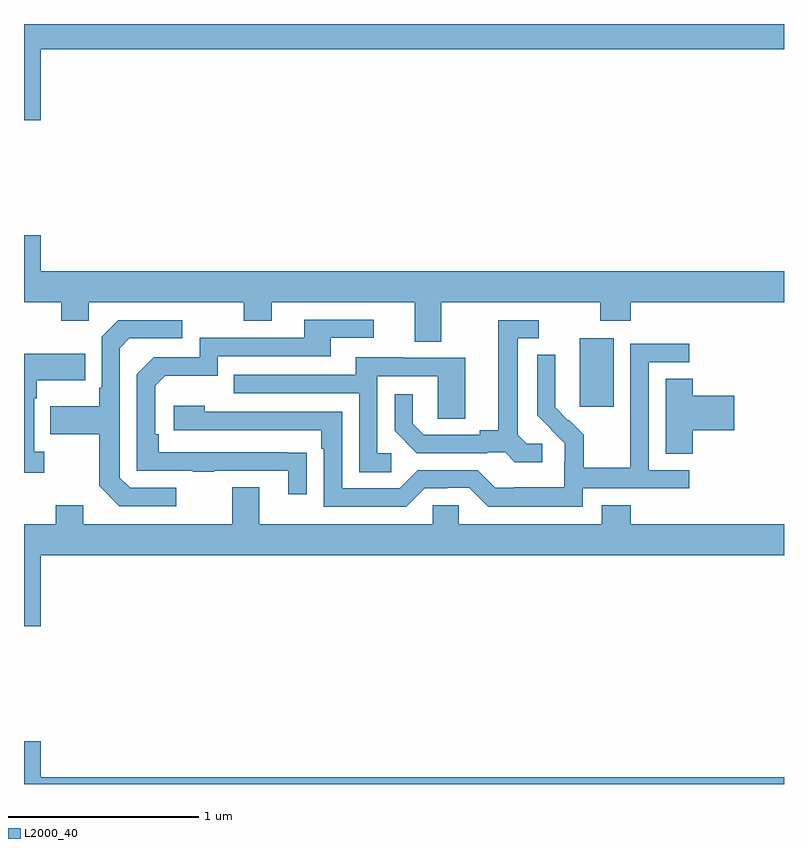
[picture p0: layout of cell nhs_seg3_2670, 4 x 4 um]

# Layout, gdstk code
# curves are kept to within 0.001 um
import gdstk
lib = gdstk.Library(unit=1e-6, precision=1e-09)
def R(c, l, rs):  # rectangles x0, y0, x1, y1
    for r in rs: c.add(gdstk.rectangle(r[:2], r[2:], *l))
def P(c, l, *ps):  # polygons
    for p in ps: c.add(gdstk.Polygon(p, *l))
L2000_40 = (2000, 40)

nhs_seg3_2670 = lib.new_cell('nhs_seg3_2670')
R(nhs_seg3_2670, L2000_40, [(251.924,680.385,252.103,680.746)])
P(nhs_seg3_2670, L2000_40, [(249.088,682.268),(253,682.268),(253,682.4),(249,682.4),(249,681.894),(249.088,681.894)],
  [(251.197,680.936),(252.034,680.936),(252.034,680.837),(252.194,680.837),(252.194,680.936),(253,680.936),(253,681.1),(249.088,681.1),(249.088,681.289),(249,681.289),(249,680.936),(249.196,680.936),(249.196,680.837),(249.342,680.837),(249.342,680.936),(250.156,680.936),(250.156,680.837),(250.303,680.837),(250.303,680.936),(251.057,680.936),(251.057,680.728),(251.197,680.728)],
  [(250.487,680.144),(249.71,680.145),(249.71,680.242),(249.69,680.242),(249.69,680.496),(249.743,680.549),(250.02,680.549),(250.02,680.652),(250.615,680.652),(250.615,680.748),(250.84,680.748),(250.84,680.844),(250.475,680.844),(250.475,680.748),(249.924,680.748),(249.924,680.646),(249.684,680.646),(249.594,680.556),(249.594,680.049),(249.889,680.049),(249.889,680.044),(250.001,680.044),(250.001,680.049),(250.391,680.049),(250.391,679.926),(250.487,679.926)],
  [(251.728,680.19),(251.646,680.19),(251.599,680.237),(251.599,680.745),(251.71,680.745),(251.71,680.841),(251.495,680.841),(251.495,680.261),(251.399,680.261),(251.399,680.238),(251.104,680.238),(251.047,680.295),(251.047,680.452),(250.95,680.452),(250.95,680.258),(251.066,680.142),(251.438,680.142),(251.438,680.145),(251.532,680.145),(251.584,680.093),(251.728,680.093)],
  [(249.802,679.959),(249.558,679.959),(249.504,680.013),(249.504,680.694),(249.555,680.745),(249.832,680.745),(249.832,680.841),(249.495,680.841),(249.408,680.754),(249.408,680.485),(249.396,680.485),(249.396,680.389),(249.139,680.389),(249.139,680.242),(249.396,680.242),(249.396,679.969),(249.501,679.863),(249.802,679.863)],
  [(251.94,679.956),(252.502,679.956),(252.502,680.052),(252.288,680.052),(252.288,680.619),(252.502,680.619),(252.502,680.718),(252.192,680.718),(252.192,680.288),(252.19,680.288),(252.19,680.065),(251.945,680.065),(251.945,680.239),(251.868,680.316),(251.865,680.313),(251.795,680.384),(251.796,680.66),(251.7,680.66),(251.7,680.342),(251.846,680.194),(251.846,680.097),(251.844,680.097),(251.844,679.963),(251.581,679.963),(251.581,679.959),(251.481,679.959),(251.388,680.052),(251.073,680.052),(250.977,679.956),(250.674,679.956),(250.674,680.358),(249.95,680.358),(249.95,680.392),(249.789,680.392),(249.789,680.262),(250.565,680.262),(250.565,680.165),(250.578,680.165),(250.578,679.86),(251.013,679.86),(251.109,679.956),(251.228,679.956),(251.228,679.959),(251.343,679.959),(251.443,679.859),(251.94,679.859)],
  [(249.106,680.15),(249.054,680.15),(249.054,680.429),(249.067,680.429),(249.067,680.525),(249.323,680.525),(249.323,680.665),(249,680.665),(249,680.037),(249.106,680.037)],
  [(250.933,680.142),(250.86,680.142),(250.86,680.547),(251.178,680.547),(251.178,680.323),(251.323,680.323),(251.323,680.643),(250.999,680.643),(250.999,680.647),(250.745,680.647),(250.745,680.553),(250.105,680.553),(250.105,680.457),(250.764,680.457),(250.764,680.041),(250.933,680.041)],
  [(252.521,680.261),(252.739,680.261),(252.739,680.444),(252.521,680.444),(252.521,680.534),(252.377,680.534),(252.377,680.137),(252.521,680.137)],
  [(249.088,679.604),(253,679.604),(253,679.768),(252.194,679.768),(252.194,679.867),(252.041,679.867),(252.041,679.768),(251.289,679.768),(251.289,679.866),(251.151,679.866),(251.151,679.768),(250.237,679.768),(250.237,679.963),(250.097,679.963),(250.097,679.768),(249.313,679.768),(249.313,679.867),(249.166,679.867),(249.166,679.768),(249,679.768),(249,679.23),(249.088,679.23)],
  [(249.088,678.625),(249,678.625),(249,678.4),(253,678.4),(253,678.436),(249.088,678.436)])

lib.write_gds('nhs_seg3_2670.gds')
